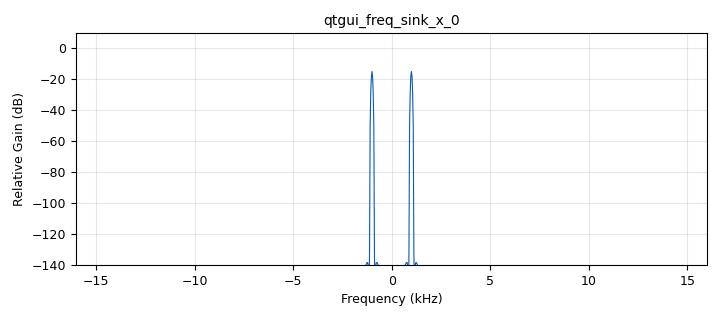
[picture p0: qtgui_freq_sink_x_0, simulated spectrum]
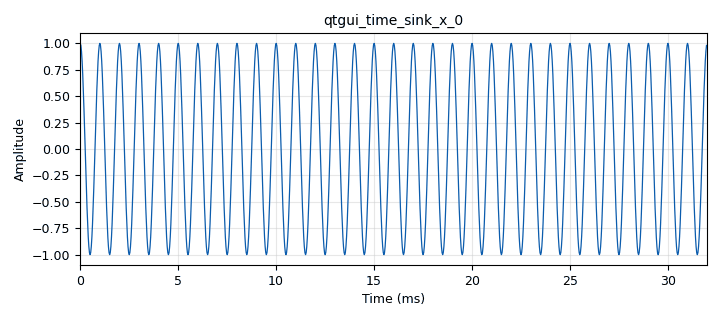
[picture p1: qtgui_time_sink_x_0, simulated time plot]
options:
  parameters:
    generate_options: qt_gui
    id: ex1_02
    output_language: python
    title: Figure 1.7 Adding a spectrum analyzer
  states: {}

blocks:
- name: samp_rate
  id: variable
  parameters:
    value: '32000'
  states: {}
- name: analog_sig_source_x_0
  id: analog_sig_source_x
  parameters:
    amp: '1'
    freq: '1000'
    offset: '0'
    phase: '0'
    samp_rate: samp_rate
    type: float
    waveform: analog.GR_COS_WAVE
  states: {}
- name: blocks_throttle2_0
  id: blocks_throttle2
  parameters:
    comment: slow down the scheduler
    samples_per_second: samp_rate
    type: float
  states: {}
- name: qtgui_freq_sink_x_0
  id: qtgui_freq_sink_x
  parameters:
    bw: samp_rate
    fc: '0'
    fftsize: '1024'
    type: float
  states: {}
- name: qtgui_time_sink_x_0
  id: qtgui_time_sink_x
  parameters:
    autoscale: 'True'
    size: '1024'
    srate: samp_rate
    type: float
  states: {}

connections:
- [analog_sig_source_x_0, '0', blocks_throttle2_0, '0']
- [blocks_throttle2_0, '0', qtgui_freq_sink_x_0, '0']
- [blocks_throttle2_0, '0', qtgui_time_sink_x_0, '0']

metadata:
  file_format: 1
  grc_version: 3.10.9.2
